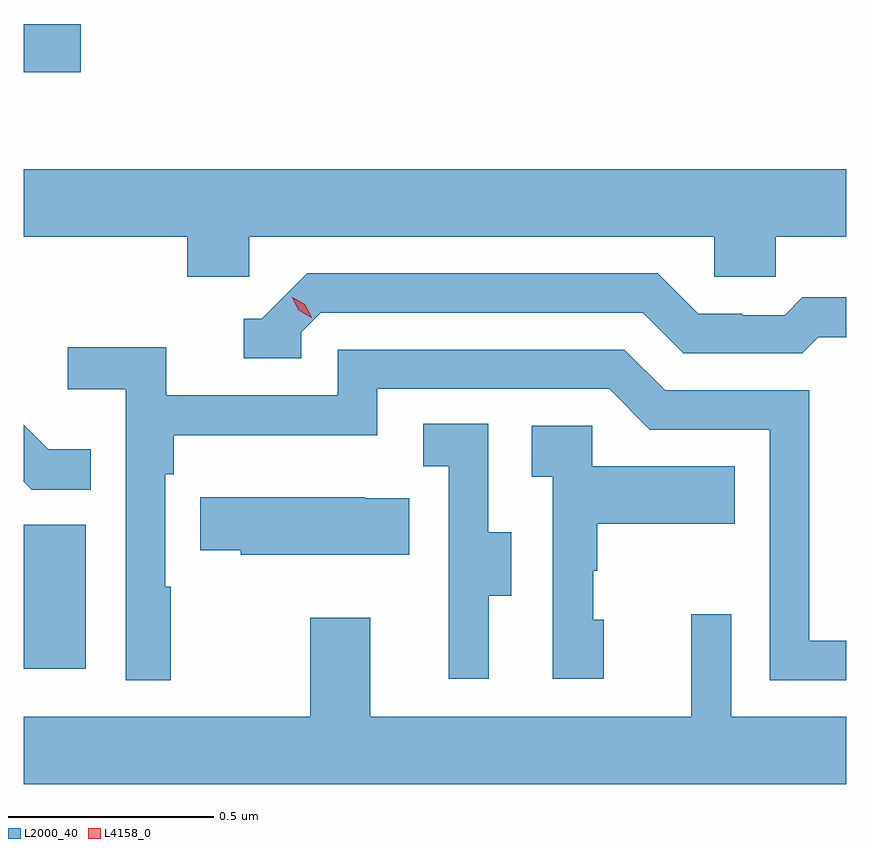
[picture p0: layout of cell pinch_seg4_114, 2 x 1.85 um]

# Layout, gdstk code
import gdstk
lib = gdstk.Library(unit=1e-6, precision=1e-09)
def R(c, l, rs):  # rectangles x0, y0, x1, y1
    for r in rs: c.add(gdstk.rectangle(r[:2], r[2:], *l))
def P(c, l, *ps):  # polygons
    for p in ps: c.add(gdstk.Polygon(p, *l))
L2000_40 = (2000, 40)
L4158_0 = (4158, 0)

pinch_seg4_114 = lib.new_cell('pinch_seg4_114')
R(pinch_seg4_114, L2000_40, [(1058.68,801.096,1058.83,801.447), (1058.68,802.548,1058.818,802.665)])
P(pinch_seg4_114, L2000_40, [(1059.228,802.148),(1060.359,802.148),(1060.359,802.05),(1060.509,802.05),(1060.509,802.148),(1060.68,802.148),(1060.68,802.312),(1058.68,802.312),(1058.68,802.148),(1059.077,802.148),(1059.077,802.05),(1059.228,802.05)],
  [(1059.354,801.915),(1059.402,801.963),(1060.185,801.963),(1060.284,801.864),(1060.573,801.864),(1060.612,801.903),(1060.68,801.903),(1060.68,802),(1060.573,802),(1060.531,801.957),(1060.428,801.957),(1060.428,801.96),(1060.321,801.96),(1060.222,802.059),(1059.369,802.059),(1059.258,801.948),(1059.215,801.948),(1059.215,801.852),(1059.354,801.852)],
  [(1059.037,801.296),(1059.024,801.296),(1059.024,801.569),(1059.044,801.569),(1059.044,801.665),(1059.54,801.665),(1059.54,801.777),(1060.104,801.777),(1060.203,801.678),(1060.494,801.678),(1060.494,801.069),(1060.68,801.069),(1060.68,801.165),(1060.59,801.165),(1060.59,801.774),(1060.24,801.774),(1060.141,801.873),(1059.444,801.873),(1059.444,801.762),(1059.026,801.762),(1059.026,801.878),(1058.787,801.878),(1058.787,801.776),(1058.928,801.776),(1058.928,801.069),(1059.037,801.069)],
  [(1059.811,801.274),(1059.865,801.274),(1059.865,801.429),(1059.81,801.429),(1059.81,801.692),(1059.651,801.692),(1059.651,801.589),(1059.714,801.589),(1059.714,801.285),(1059.713,801.285),(1059.713,801.072),(1059.811,801.072)],
  [(1058.843,801.631),(1058.739,801.631),(1058.68,801.69),(1058.68,801.551),(1058.699,801.532),(1058.843,801.532)],
  [(1060.09,801.216),(1060.065,801.216),(1060.065,801.335),(1060.075,801.335),(1060.075,801.449),(1060.409,801.449),(1060.409,801.589),(1060.062,801.589),(1060.062,801.687),(1059.915,801.687),(1059.915,801.563),(1059.966,801.563),(1059.966,801.072),(1060.09,801.072)],
  [(1059.617,801.511),(1059.509,801.511),(1059.509,801.514),(1059.109,801.514),(1059.109,801.385),(1059.207,801.385),(1059.207,801.374),(1059.617,801.374)],
  [(1060.68,800.98),(1060.401,800.98),(1060.401,801.229),(1060.304,801.229),(1060.304,800.98),(1059.523,800.98),(1059.523,801.22),(1059.376,801.22),(1059.376,800.98),(1058.68,800.98),(1058.68,800.816),(1060.68,800.816)])
P(pinch_seg4_114, L4158_0, [(1059.379,801.95),(1059.348,801.969),(1059.331,802.001),(1059.331,802.002),(1059.332,802.002),(1059.363,801.983),(1059.38,801.951),(1059.38,801.95)])

lib.write_gds('pinch_seg4_114.gds')
